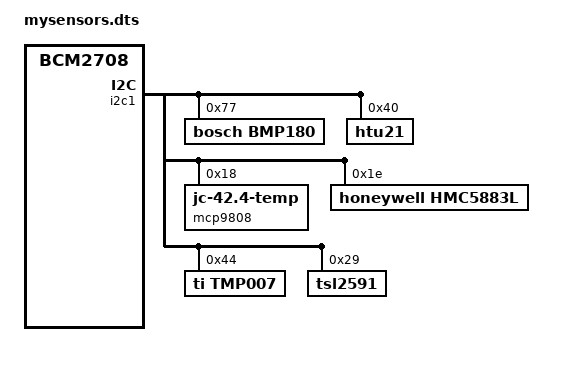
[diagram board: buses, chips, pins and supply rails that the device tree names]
/* NOTE: iio-hwmon: https://www.kernel.org/doc/Documentation/devicetree/bindings/iio/iio-bindings.txt */

/dts-v1/;
/plugin/;

/ {
  compatible = "brcm,bcm2708"; /* probably will soon be bcm2835? */

  /* i2c_arm */
  fragment@0 {
      target = <&i2c1>;
      __overlay__ {
         pinctrl-0 = <&i2c1_pins>;
         status = "okay";
      };
  };

  /* i2c_arm pins */
  fragment@1 {
      target = <&i2c1_pins>;
         pins: __overlay__ {
         brcm,pins = <2 3>;
         brcm,function = <4>; /* alt 0 */
      };
  };

  /* sensors */
  fragment@2 {
    target = <&i2c1>; /* NOTE: cannot use i2c_arm here! */
    __overlay__ {
      #address-cells = <1>; /* 1 for i2c devices */
      #size-cells = <0>;    /* 0 for i2c devices */
      status = "okay";

      bmp180: bmp180@77 {
        /* i2c */
        compatible = "bosch,bmp180"; /* NOTE: load bmp280_i2c */
        reg = <0x77>;
        status = "okay";

        /* iio */
        #io-channel-cells = <1>; /* 1 for multiple channels */

        /* iio/pressure/bmp280 special config */
        temp-measurement-period = <100>;
        default-oversampling = <3>; /* NOTE: needs verification, documentation might be out-dated */
      };

      htu21: htu21@40 {
        /* i2c */
        compatible = "htu21"; /* NOTE: will become "meas,htu21" in newer kernels */
        reg = <0x40>;
        status = "okay";

        /* iio */
        #io-channel-cells = <1>; /* 1 for multiple channels */

        /* iio/humidity/htu21 special config */
        /* (NONE) */
      };

      /* Use HWMON driver instead of IIO, JEDEC JC-42 compatible, 0x18 - 0x1f */
      mcp9808: mcp9808@18 {
        /* i2c */
        compatible = "jedec,jc-42.4-temp";
        reg = <0x18>;
        status = "okay";

        /* hwmon */
        /* (NONE) */

        /* hwmon/jc42 special config */
        /* (NONE) */
      };

      hmc5883l: hmc5883l@1e {
        /* i2c */
        compatible = "honeywell,hmc5883l"; /* NOTE: load hmc5843_i2c. In-tree but not compiled. */
        reg = <0x1e>;
        status = "okay";

        /* iio */
        #io-channel-cells = <1>; /* 1 for multiple channels */

        /* iio/magnetometer/hmc5843 special config */
        /* (NONE) */
      };

      tmp007: tmp007@44 {
        /* i2c */
        compatible = "ti,tmp007"; /* NOTE: in backports. This driver gives RAW values only. */
        reg = <0x44>; /* NOTE: pull any AD line up, or there will be a conflict with HTU21D! Pulling AD1 up gets you 0x44. */
        status = "okay";

        /* iio */
        #io-channel-cells = <1>; /* 1 for multiple channels */

        /* iio/magnetometer/tmp007 special config */
        /* (NONE) */
      };

      tsl2591: tsl2591@29 {
        /* i2c */
        compatible = "tsl2591"; /* NOTE: in backports */
        reg = <0x29>;
        status = "okay";

        /* iio */
        #io-channel-cells = <1>; /* 1 for multiple channels */

        /* iio/light/tsl2591 special config */
        /* (NONE) */
      };

      /* iio-hwmon bridge */
      /* This should mirror iio channels to hwmon subsystem, which can then be hooked to collectd. */
      iio-hwmon {
        compatible = "iio-hwmon"; /* NOTE: in-tree but not compiled */
        status = "okay";

        io-channels =
          <&bmp180 0>, <&bmp180 1>,
          <&htu21 0>, <&htu21 1>,
          <&tmp007 0>, <&tmp007 1>,
          <&tsl2591 0>, <&tsl2591 1>,
          <&hmc5883l 0>, <&hmc5883l 1>, <&hmc5883l 2>;
        io-channel-names =
          "pressure", "temp",
          "temp", "humidity",
          "ambient", "object",
          "all", "ir",
          "x", "y", "z";
      };
    };
  };
};
